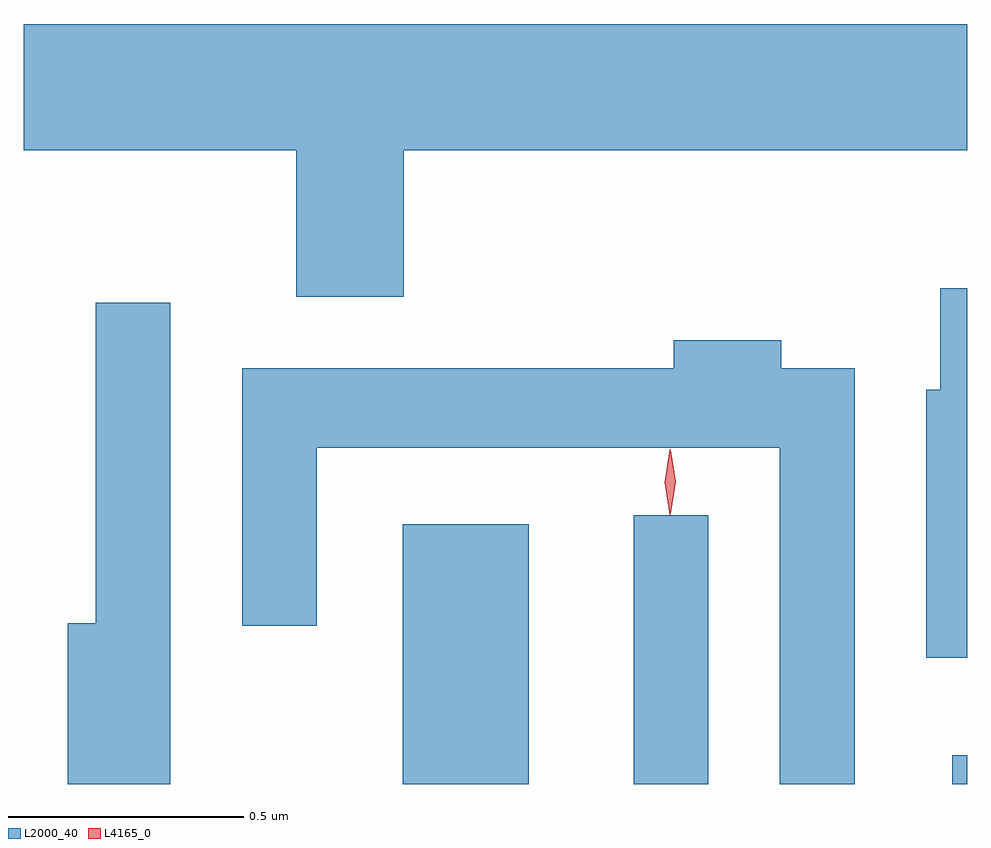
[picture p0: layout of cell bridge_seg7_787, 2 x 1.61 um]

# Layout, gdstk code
import gdstk
lib = gdstk.Library(unit=1e-6, precision=1e-09)
def R(c, l, rs):  # rectangles x0, y0, x1, y1
    for r in rs: c.add(gdstk.rectangle(r[:2], r[2:], *l))
def P(c, l, *ps):  # polygons
    for p in ps: c.add(gdstk.Polygon(p, *l))
L2000_40 = (2000, 40)
L4165_0 = (4165, 0)

bridge_seg7_787 = lib.new_cell('bridge_seg7_787')
R(bridge_seg7_787, L2000_40, [(499.796,1759.593,500.064,1760.144), (500.286,1759.593,500.444,1760.163), (500.961,1759.593,500.993,1759.654)])
P(bridge_seg7_787, L2000_40, [(499.799,1760.936),(500.993,1760.936),(500.993,1761.204),(498.993,1761.204),(498.993,1760.936),(499.571,1760.936),(499.571,1760.626),(499.799,1760.626)],
  [(500.993,1760.644),(500.936,1760.644),(500.936,1760.429),(500.906,1760.429),(500.906,1759.861),(500.993,1759.861)],
  [(499.304,1760.613),(499.146,1760.613),(499.146,1759.934),(499.086,1759.934),(499.086,1759.593),(499.304,1759.593)],
  [(500.754,1760.474),(500.599,1760.474),(500.599,1760.534),(500.371,1760.534),(500.371,1760.474),(499.456,1760.474),(499.456,1759.928),(499.614,1759.928),(499.614,1760.306),(500.596,1760.306),(500.596,1759.593),(500.754,1759.593)])
P(bridge_seg7_787, L4165_0, [(500.362,1760.164),(500.362,1760.164),(500.352,1760.233),(500.362,1760.302),(500.362,1760.303),(500.363,1760.302),(500.372,1760.233),(500.363,1760.164)],
  [(500.364,1760.167),(500.355,1760.234),(500.364,1760.3),(500.365,1760.3),(500.365,1760.3),(500.375,1760.234),(500.365,1760.167),(500.365,1760.167)])

lib.write_gds('bridge_seg7_787.gds')
